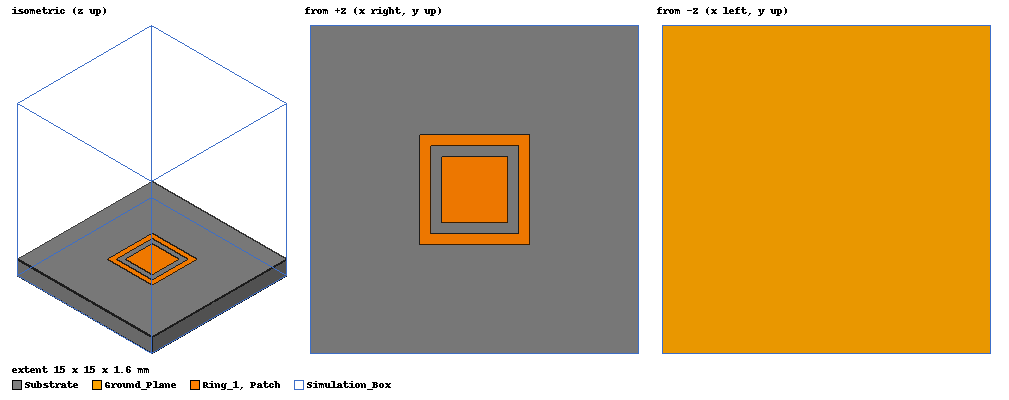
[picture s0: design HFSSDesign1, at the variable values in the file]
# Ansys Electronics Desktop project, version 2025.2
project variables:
  $Lambda = 30mm  # wavelength in air
  $Dk = 4.5  # dielectric constant
  $H = 1.6mm  # dielectric height
  $T = 0.004mil  # conductor thickness
  $L = $Lambda*$waveFactor
  $Lpatch = 3mm  # rect patch dimension; tune 5mm..15mm
  $mfrgTol = 6mil
  $d = 0.5mm
  $w = 0.5mm
  $Lpatch_M = $L-2*$d-2*$w
  $waveFactor = 1/2
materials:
  vacuum: permittivity=1
  Rogers RT/duroid 5880 (tm): permittivity=2.2 dielectric_loss_tangent=0.0009
  copper: permeability=0.999991 conductivity=58000000
  Kingboard KB6167F: permittivity=4.5 dielectric_loss_tangent=0.016
  Rogers RO4003 (tm): permittivity=3.55 dielectric_loss_tangent=0.0027

design HFSSDesign1 (HFSS, HFSS Terminal Network, model units mm)
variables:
  Phi_Scan = 0deg
  Theta_Scan = 0deg
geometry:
  Substrate [Kingboard KB6167F] = box(corner=(-$L/2, -$L/2, 0mm), size=($Lambda*$waveFactor, $Lambda*$waveFactor, $H))
  Substrate.move(0mm, 0mm, 0mm)
  Simulation_Box [vacuum] = box(corner=(-$L/2, -$L/2, 0), size=($L, $L, $H+$Lambda/2))
  Ground_Plane = rectangle(corner=(-$L/2, -$L/2, 0mm), x_size=$L, y_size=$L)
  coordinate_system RelativeCS1 = origin=(0mm, 0mm, 0.5081016mm) x=(1mm, 0mm, 0mm) y=(0mm, 1mm, 0mm)
  Patch = rectangle(corner=(-$Lpatch/2, -$Lpatch/2, $H), x_size=$Lpatch, y_size=$Lpatch)
  Ring_1 = rectangle(corner=(-($Lpatch+2*$d+2*$w)/2, -($Lpatch+2*$d+2*$w)/2, $H), x_size=$Lpatch+2*$d+2*$w, y_size=$Lpatch+2*$d+2*$w)
  Rectangle2 = rectangle(corner=(-($Lpatch+2*$d)/2, -($Lpatch+2*$d)/2, $H), x_size=$Lpatch+2*$d, y_size=$Lpatch+2*$d)
  Ring_1.subtract(Rectangle2)
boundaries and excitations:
  Primary1_-y: Primary Faces=Simulation_Box.face(-y) CoordSysVector{(-7.5, -7.5, 16.6) -> (7.5, -7.5, 16.6)}
  Primary2_-x: Primary Faces=Simulation_Box.face(-x) CoordSysVector{(-7.5, -7.5, 16.6) -> (-7.5, 7.5, 16.6)} ReverseV
  PerfE1: Perfect E Objects=Ground_Plane
  Secondary1_+y: Secondary Faces=Simulation_Box.face(+y) CoordSysVector{(-7.5, 7.5, 16.6) -> (7.5, 7.5, 16.6)} ReverseV primary=Primary1_-y PhaseDelay=UseScanAngle Phi=0 Theta=0
  Secondary2_+x: Secondary Faces=Simulation_Box.face(+x) CoordSysVector{(7.5, -7.5, 16.6) -> (7.5, 7.5, 16.6)} primary=Primary2_-x PhaseDelay=UseScanAngle Phi=0deg Theta=0deg
  PerfE2: Perfect E Faces=Patch.face
  PerfE3: Perfect E Objects=Ring_1
  FloquetPort1: Floquet Port Faces=Simulation_Box.face(+z) NumModes=2 DeembedDist=$Lambda/2 Modes{Mode1{CharImp=Zpi} Mode2{CharImp=Zpi}} PhaseDelay=UseScanAngle Phi=0deg Theta=0deg LatticeAVector{(7.5, -7.5, 16.6) -> (-7.5, -7.5, 16.6)} LatticeBVector{(7.5, -7.5, 16.6) -> (7.5, 7.5, 16.6)} ModesCalculator{Frequency=1GHz PhiStart=0deg PhiStop=0deg PhiStep=0deg ThetaStart=0deg ThetaStop=0deg ThetaStep=0deg} ModesList{Mode{ModeNumber=1 IndexM=0 IndexN=0 KC2=0 PropagationState=Propagating Attenuation=0 PolarizationState=TE AffectsRefinement} Mode{ModeNumber=2 IndexM=0 IndexN=0 KC2=0 PropagationState=Propagating Attenuation=0 PolarizationState=TM AffectsRefinement}}
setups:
  Setup1: HfssDriven Frequency=11GHz MaxDeltaS=0.02 MaximumPasses=25 MinimumPasses=1 MinimumConvergedPasses=1 PercentRefinement=20 BasisOrder=1 PortAccuracy=2 DrivenSolverType="Direct Solver"
    sweep Sweep: 9.5GHz to 10.5GHz, 3 points; Type=Interpolating InterpTolerance=0.5 InterpMaxSolns=250 PassivityErrorTolerance=0.0001
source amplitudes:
  FloquetPort1:1: 1V 0deg
  FloquetPort1:2: 0V 0deg
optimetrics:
  ParametricSetup1: Parametric Sim._Setups=[Setup1]
    sweep $Lpatch: LIN 1mm 12.8984mm 0.79322665mm
    sweep $H: 1.6mm 2mm 2.4mm 2.6mm 2.8mm 3mm 3.2mm
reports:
  S Parameter Plot1: ang_deg(S(FloquetPort1:1,FloquetPort1:1)) vs $Lpatch on Setup1 : Sweep [Freq=10GHz $H=all]; markers m1 at 1mm, m2 at 5.9745999mm
  S Parameter Plot2: ang_deg(S(FloquetPort1:1,FloquetPort1:1)) vs $Lpatch on Setup1 : Sweep [Freq=10GHz $H=1.6mm]
  S Parameter Plot3: ang_deg(S(FloquetPort1:1,FloquetPort1:1)) vs $Lpatch on Setup1 : Sweep [Freq=10GHz $H=3.2mm]
